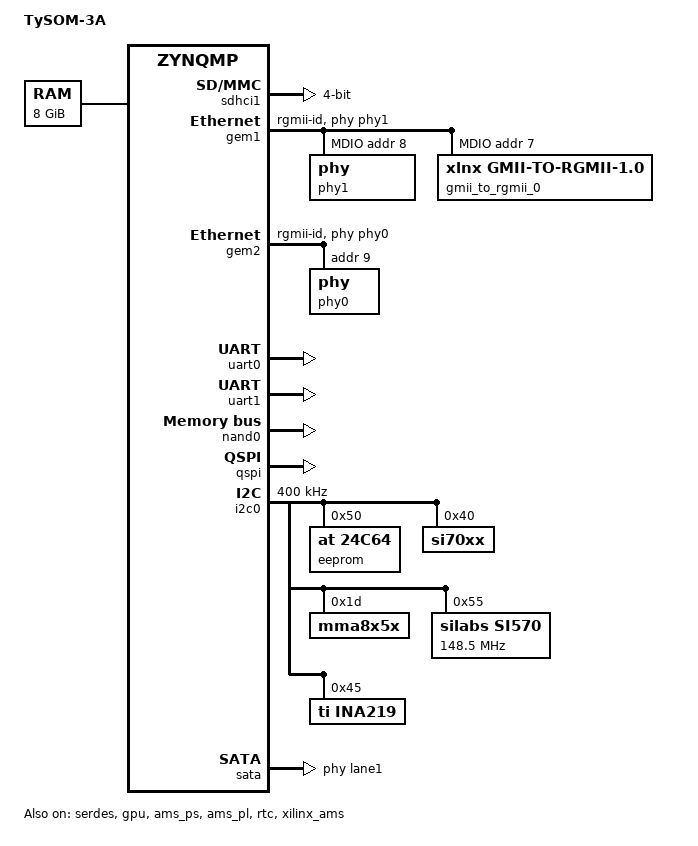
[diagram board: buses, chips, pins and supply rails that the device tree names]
/*
* Aldec TySOM-3A-ZU19EG board DTS
*
* Copyright (C) 2016 Aldec, Inc.
*
* SPDX-License-Identifier: GPL-2.0+
*/

/dts-v1/;

#include "zynqmp.dtsi"
#include "zynqmp-clk-ccf.dtsi"
#include <dt-bindings/gpio/gpio.h>
#include <dt-bindings/pinctrl/pinctrl-zynqmp.h>
#include <dt-bindings/phy/phy.h>

/ {
    model = "TySOM-3A";
    compatible = "aldec,zynqmp-tysom-3a", "xlnx,zynqmp";

    aliases {
        ethernet0 = &gem1;
        ethernet1 = &gem2;
        serial0 = &uart1;
        serial1 = &uart0;
        mmc0 = &sdhci1;
        i2c0 = &i2c0;
        spi0 = &qspi;
    };

    chosen {
        bootargs = "earlycon clk_ignore_unused";
        stdout-path = "serial0:115200n8";
    };

    memory {
        device_type = "memory";
        reg = <0x0 0x0 0x0 0x7ff00000>, <0x00000008 0x00000000 0x00000001 0x80000000>;
    };

};

&sdhci0 {
    clock-frequency = <48484364>;
    status = "disabled";
    xlnx,mio_bank = <0x1>;
    no-1-8-v;
};
&sdhci1 {
    clock-frequency = <96968727>;
    status = "okay";
    xlnx,mio_bank = <0x1>;
    no-1-8-v;
    disable-wp;
    bus-width = <4>;
};


&gem1 {
    phy-mode = "rgmii-id";
    status = "okay";
    phy-handle = <&phy1>;
    gmii2rgmii-phy-handle = <&gmii_to_rgmii_0>;

    ps7_ethernet_1_mdio: mdio {
        #address-cells = <1>;
        #size-cells = <0>;
        phy1: phy@8 {
            device_type = "ethernet-phy";
            reg = <0x8>;
            ti,rx-internal-delay = <0x8>;
            ti,tx-internal-delay = <0xa>;
            ti,fifo-depth = <0x1>;
        };
        gmii_to_rgmii_0: phy@7 {
            compatible = "xlnx,gmii-to-rgmii-1.0";
            reg = <7>;
            phy-handle = <&phy1>;
        };
    };
};

&gem2 {
    status = "okay";
    phy-handle = <&phy0>;
    phy-mode = "rgmii-id";

    phy0: phy@9 {
        device_type = "ethernet-phy";
        reg = <0x9>;
        ti,rx-internal-delay = <0x8>;
        ti,tx-internal-delay = <0xa>;
        ti,fifo-depth = <0x1>;
    };
};

&gpio {
    emio-gpio-width = <32>;
    gpio-mask-high = <0x0>;
    gpio-mask-low = <0x5600>;
    status = "okay";
};

&uart0 {
    device_type = "serial";
    port-number = <1>;
    status = "okay";
    u-boot,dm-pre-reloc ;
};
&uart1 {
    device_type = "serial";
    port-number = <0>;
    status = "okay";
    u-boot,dm-pre-reloc ;
};

&serdes {
    status = "okay";
};

&gpu {
    status = "okay";
};

&ams_ps {
    status = "okay";
};
&ams_pl {
    status = "okay";
};

&pinctrl0 {
    status = "okay";
};
&rtc {
    status = "okay";
};


&nand0 {
    u-boot,dm-pre-reloc;
    status = "okay";
};

&qspi {
    u-boot,dm-pre-reloc;
    status = "okay";
};

&lpd_dma_chan1 {
    status = "okay";
};
&lpd_dma_chan2 {
    status = "okay";
};
&lpd_dma_chan3 {
    status = "okay";
};
&lpd_dma_chan4 {
    status = "okay";
};
&lpd_dma_chan5 {
    status = "okay";
};
&lpd_dma_chan6 {
    status = "okay";
};
&lpd_dma_chan7 {
    status = "okay";
};
&lpd_dma_chan8 {
    status = "okay";
};
&xilinx_ams {
    status = "okay";
};
&fpd_dma_chan1 {
    status = "okay";
};
&fpd_dma_chan2 {
    status = "okay";
};
&fpd_dma_chan3 {
    status = "okay";
};
&fpd_dma_chan4 {
    status = "okay";
};
&fpd_dma_chan5 {
    status = "okay";
};
&fpd_dma_chan6 {
    status = "okay";
};
&fpd_dma_chan7 {
    status = "okay";
};
&fpd_dma_chan8 {
    status = "okay";
};

&i2c0 {
    clock-frequency = <400000>;
    status = "okay";

    eeprom@50 {
        compatible = "at,24c64";
        reg = <0x50>;
    };

    si70xx: si70xx@40 {
        compatible = "si70xx";
        reg = <0x40>;
    };

    mma8x5x: mma8x5x@1d {
        compatible = "mma8x5x";
        reg = <0x1d>;
    };

    si570: clock-generator@55 {
        #clock-cells = <0>;
        compatible = "silabs,si570";
        reg = <0x55>;
        temperature-stability = <50>;
        factory-fout = <156250000>;
        clock-frequency = <148500000>;
    };

    ina219@45 {
        compatible = "ti,ina219";
        reg = <0x45>;
        shunt-resistor = <2>;
    };
};

&sata {
    status = "okay";
    phy-names = "sata-phy";
    phys = <&lane1 1 1 1 150000000>;
    ceva,p0-cominit-params = /bits/ 8 <0x1B 0x4D 0x18 0x28>;
    ceva,p0-comwake-params = /bits/ 8 <0x06 0x19 0x08 0x0E>;
    ceva,p0-burst-params = /bits/ 8 <0x13 0x08 0x4A 0x06>;
    ceva,p0-retry-params = /bits/ 16 <0x96A4 0x3FFC>;

    ceva,p1-cominit-params = /bits/ 8 <0x1B 0x4D 0x18 0x28>;
    ceva,p1-comwake-params = /bits/ 8 <0x06 0x19 0x08 0x0E>;
    ceva,p1-burst-params = /bits/ 8 <0x13 0x08 0x4A 0x06>;
    ceva,p1-retry-params = /bits/ 16 <0x96A4 0x3FFC>;
    /delete-property/iommus;
};
